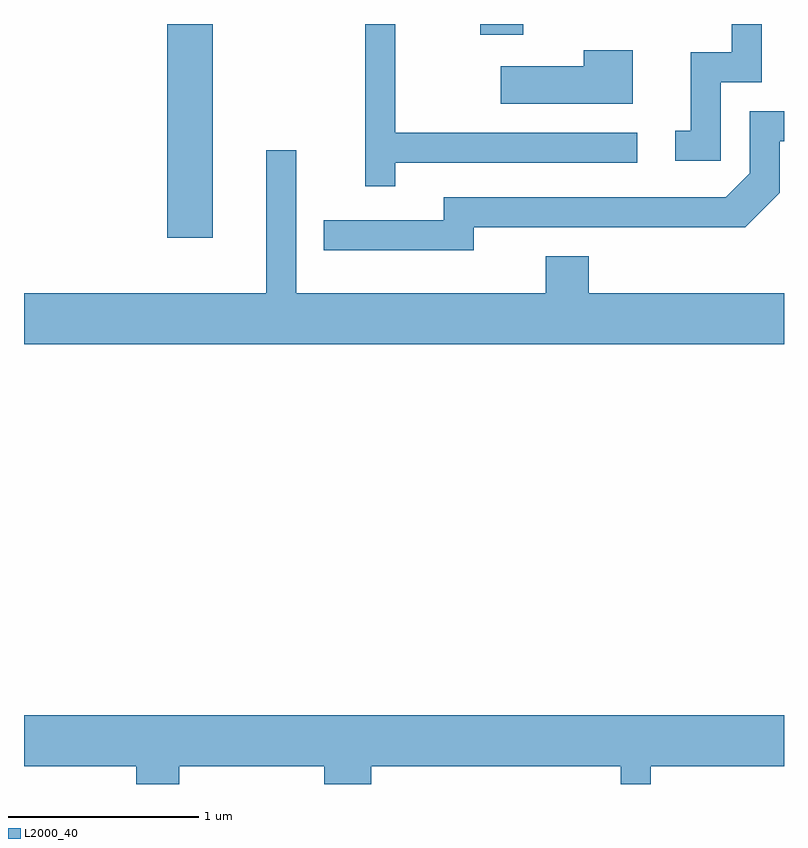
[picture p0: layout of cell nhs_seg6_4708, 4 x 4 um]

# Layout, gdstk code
import gdstk
lib = gdstk.Library(unit=1e-6, precision=1e-09)
def R(c, l, rs):  # rectangles x0, y0, x1, y1
    for r in rs: c.add(gdstk.rectangle(r[:2], r[2:], *l))
def P(c, l, *ps):  # polygons
    for p in ps: c.add(gdstk.Polygon(p, *l))
L2000_40 = (2000, 40)

nhs_seg6_4708 = lib.new_cell('nhs_seg6_4708')
R(nhs_seg6_4708, L2000_40, [(330.366,1555.036,330.604,1556.162), (332.011,1556.106,332.239,1556.162)])
P(nhs_seg6_4708, L2000_40, [(333.279,1555.856),(333.494,1555.856),(333.494,1556.162),(333.336,1556.162),(333.336,1556.014),(333.121,1556.014),(333.121,1555.599),(333.038,1555.599),(333.038,1555.441),(333.279,1555.441)],
  [(331.564,1555.431),(332.838,1555.431),(332.838,1555.589),(331.564,1555.589),(331.564,1556.162),(331.406,1556.162),(331.406,1555.308),(331.564,1555.308)],
  [(332.814,1556.024),(332.556,1556.024),(332.556,1555.939),(332.121,1555.939),(332.121,1555.741),(332.814,1555.741)],
  [(331.979,1555.091),(333.407,1555.091),(333.589,1555.274),(333.589,1555.546),(333.611,1555.546),(333.611,1555.704),(333.431,1555.704),(333.431,1555.377),(333.304,1555.249),(331.821,1555.249),(331.821,1555.129),(331.188,1555.129),(331.188,1554.971),(331.979,1554.971)],
  [(333.611,1554.744),(332.584,1554.744),(332.584,1554.939),(332.356,1554.939),(332.356,1554.744),(331.044,1554.744),(331.044,1555.498),(330.886,1555.498),(330.886,1554.744),(329.611,1554.744),(329.611,1554.476),(333.611,1554.476)],
  [(329.611,1552.256),(330.201,1552.256),(330.201,1552.162),(330.429,1552.162),(330.429,1552.256),(331.191,1552.256),(331.191,1552.162),(331.439,1552.162),(331.439,1552.256),(332.751,1552.256),(332.751,1552.162),(332.909,1552.162),(332.909,1552.256),(333.611,1552.256),(333.611,1552.524),(329.611,1552.524)])

lib.write_gds('nhs_seg6_4708.gds')
